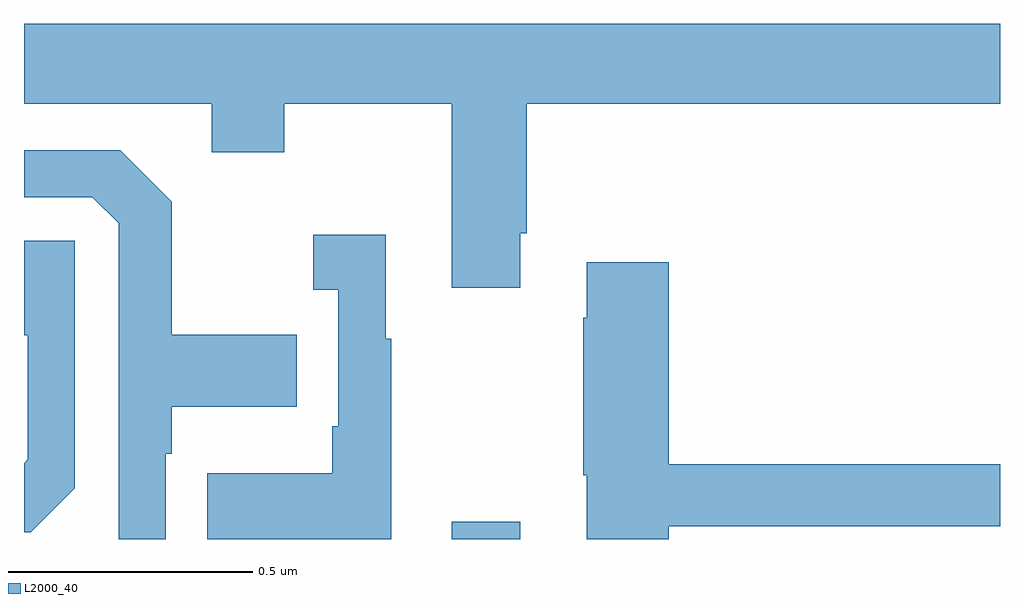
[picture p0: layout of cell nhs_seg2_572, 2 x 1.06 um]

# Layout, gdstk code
import gdstk
lib = gdstk.Library(unit=1e-6, precision=1e-09)
def R(c, l, rs):  # rectangles x0, y0, x1, y1
    for r in rs: c.add(gdstk.rectangle(r[:2], r[2:], *l))
def P(c, l, *ps):  # polygons
    for p in ps: c.add(gdstk.Polygon(p, *l))
L2000_40 = (2000, 40)

nhs_seg2_572 = lib.new_cell('nhs_seg2_572')
R(nhs_seg2_572, L2000_40, [(118.877,590.8,119.017,590.836)])
P(nhs_seg2_572, L2000_40, [(119.017,591.427),(119.03,591.427),(119.03,591.692),(120,591.692),(120,591.856),(118,591.856),(118,591.692),(118.385,591.692),(118.385,591.593),(118.533,591.593),(118.533,591.692),(118.877,591.692),(118.877,591.315),(119.017,591.315)],
  [(118.29,590.975),(118.303,590.975),(118.303,591.071),(118.559,591.071),(118.559,591.219),(118.303,591.219),(118.303,591.491),(118.197,591.597),(118,591.597),(118,591.501),(118.14,591.501),(118.194,591.447),(118.194,590.8),(118.29,590.8)],
  [(118.753,591.211),(118.741,591.211),(118.741,591.424),(118.593,591.424),(118.593,591.311),(118.644,591.311),(118.644,591.031),(118.632,591.031),(118.632,590.935),(118.375,590.935),(118.375,590.8),(118.753,590.8)],
  [(118.104,590.904),(118.104,591.411),(118,591.411),(118,591.218),(118.008,591.218),(118.008,590.964),(118,590.956),(118,590.814),(118.014,590.814)],
  [(119.321,590.826),(120,590.826),(120,590.954),(119.321,590.954),(119.321,591.367),(119.153,591.367),(119.153,591.254),(119.146,591.254),(119.146,590.931),(119.153,590.931),(119.153,590.8),(119.321,590.8)])

lib.write_gds('nhs_seg2_572.gds')
